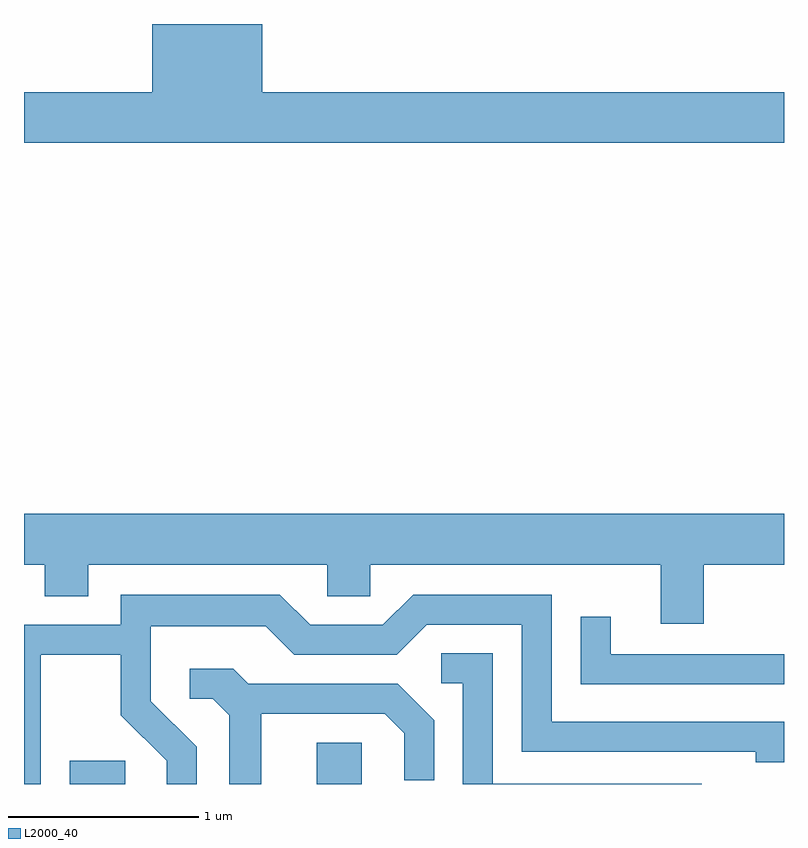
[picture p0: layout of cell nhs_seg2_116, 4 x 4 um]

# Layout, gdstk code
import gdstk
lib = gdstk.Library(unit=1e-6, precision=1e-09)
def R(c, l, rs):  # rectangles x0, y0, x1, y1
    for r in rs: c.add(gdstk.rectangle(r[:2], r[2:], *l))
def P(c, l, *ps):  # polygons
    for p in ps: c.add(gdstk.Polygon(p, *l))
L2000_40 = (2000, 40)

nhs_seg2_116 = lib.new_cell('nhs_seg2_116')
R(nhs_seg2_116, L2000_40, [(187.851,1073.802,188.144,1073.924), (189.151,1073.802,189.389,1074.019)])
P(nhs_seg2_116, L2000_40, [(191.611,1077.444),(188.864,1077.444),(188.864,1077.802),(188.286,1077.802),(188.286,1077.444),(187.611,1077.444),(187.611,1077.176),(191.611,1077.176)],
  [(191.189,1074.956),(191.611,1074.956),(191.611,1075.224),(187.611,1075.224),(187.611,1074.956),(187.721,1074.956),(187.721,1074.791),(187.949,1074.791),(187.949,1074.956),(189.206,1074.956),(189.206,1074.791),(189.434,1074.791),(189.434,1074.956),(190.961,1074.956),(190.961,1074.646),(191.189,1074.646)],
  [(187.699,1074.481),(188.121,1074.481),(188.121,1074.164),(188.361,1073.924),(188.361,1073.802),(188.519,1073.802),(188.519,1073.997),(188.279,1074.237),(188.279,1074.631),(188.884,1074.631),(189.034,1074.481),(189.572,1074.481),(189.732,1074.641),(190.231,1074.641),(190.231,1073.971),(191.461,1073.971),(191.461,1073.916),(191.611,1073.916),(191.611,1074.129),(190.389,1074.129),(190.389,1074.799),(189.659,1074.799),(189.499,1074.639),(189.117,1074.639),(188.957,1074.799),(188.121,1074.799),(188.121,1074.639),(187.611,1074.639),(187.611,1073.802),(187.699,1073.802)],
  [(191.611,1074.484),(190.699,1074.484),(190.699,1074.683),(190.541,1074.683),(190.541,1074.326),(191.611,1074.326)],
  [(191.178,1073.804),(190.079,1073.804),(190.079,1074.489),(189.808,1074.489),(189.808,1074.331),(189.921,1074.331),(189.921,1073.802),(191.178,1073.802)],
  [(188.859,1074.171),(189.509,1074.171),(189.611,1074.069),(189.611,1073.823),(189.769,1073.823),(189.769,1074.137),(189.577,1074.329),(188.792,1074.329),(188.712,1074.409),(188.483,1074.409),(188.483,1074.251),(188.604,1074.251),(188.691,1074.164),(188.691,1073.802),(188.859,1073.802)])

lib.write_gds('nhs_seg2_116.gds')
